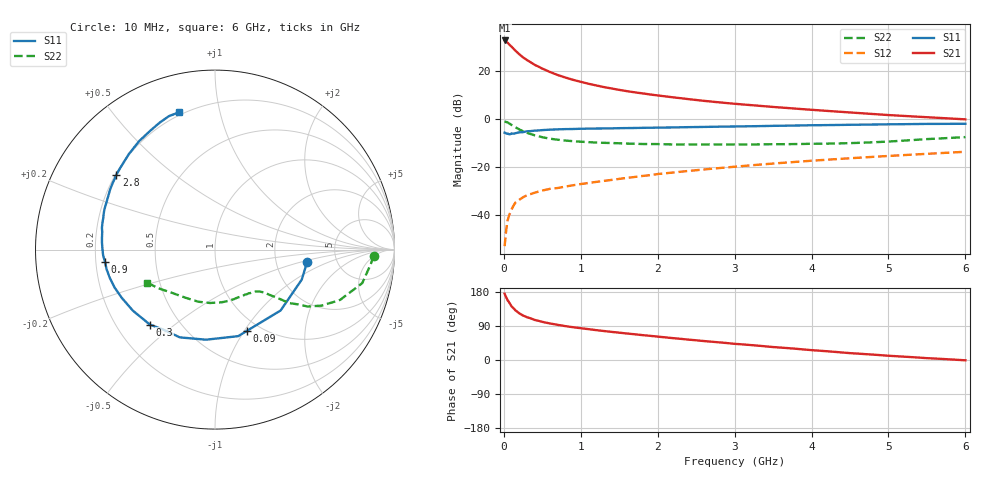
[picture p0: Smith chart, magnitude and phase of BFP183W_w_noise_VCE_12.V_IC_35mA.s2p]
! Infineon Technologies  Discrete & RF Semiconductors
! BFP183W
! VCE =  12. V,  IC =  35 mA
! Common Emitter S-Parameters:  Jan 2017
# GHz  S  MA  R  50
!  f  S11  S21  S12  S22
! GHz  MAG  ANG  MAG  ANG  MAG  ANG  MAG  ANG
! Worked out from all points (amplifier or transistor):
!   77 points, 10 MHz to 6 GHz, reference 50 ohm
!   highest |S21| = 32.5 dB at 10 MHz (marker M1)
!   |S21| within 3 dB of that: start of sweep to 113.5 MHz
!   unconditionally stable (mu >= 1): start of sweep to 16.07 MHz; 1.114 GHz to 3.89 GHz
!   at 130 MHz: K = 0.44, MSG = 32.4 dB, |S12| = -35.8 dB
!   at 2.2 GHz: K = 1.11, MAG = 13.6 dB, |S12| = -22.2 dB
!   at 6 GHz: K = 0.86, MSG = 6.7 dB, |S12| = -13.6 dB
!   lowest NFmin = 1.51 dB at 450 MHz
!   S11 on the Smith chart (normalised r, x): 10 MHz: 3.02, -0.58; 90 MHz: 0.86, -1.03; 300 MHz: 0.34, -0.41; 900 MHz: 0.24, -0.05; 2.8 GHz: 0.20, +0.32; 6 GHz: 0.18, +0.76
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0.01  0.5176 -7.8  42.2 175.0  0.0023 33.8  0.8842 -2.2
0.02  0.5115 -19.1  40.98 169.7  0.0033 53.8  0.8722 -5.2
0.05  0.4987 -42.8  37.7 157.3  0.008 64.0  0.8416 -12.8
0.09  0.4867 -68.7  32.47 145.1  0.0122 61.8  0.7677 -19.9
0.1  0.4992 -75.0  31.44 141.5  0.0132 61.5  0.7513 -21.9
0.15  0.5044 -95.6  25.97 131.1  0.0184 56.4  0.6714 -27.7
0.2  0.5268 -111.8  21.92 123.2  0.021 53.1  0.605 -31.6
0.25  0.5307 -122.8  18.81 117.3  0.0238 51.1  0.5543 -33.4
0.3  0.5533 -131.0  16.59 113.0  0.026 48.4  0.513 -35.6
0.4  0.5702 -143.4  13.21 105.8  0.0295 46.2  0.4569 -37.2
0.5  0.585 -152.7  11.01 100.6  0.0327 47.0  0.417 -38.7
0.6  0.5982 -159.4  9.365 96.4  0.0355 46.0  0.3884 -40.0
0.7  0.6067 -164.9  8.112 92.8  0.0369 47.5  0.3703 -40.6
0.9  0.6167 -173.6  6.445 86.5  0.0421 48.9  0.3453 -42.8
1.1  0.6275 179.3  5.348 81.4  0.0469 50.8  0.3295 -45.2
1.5  0.6419 168.9  3.992 72.1  0.0571 54.1  0.3122 -50.8
2.1  0.661 155.6  2.925 59.7  0.0745 56.6  0.2975 -62.2
2.8  0.6893 142.9  2.2 46.5  0.0955 56.7  0.2953 -78.3
3.1  0.6993 138.1  1.994 41.2  0.1052 55.8  0.2953 -85.5
4.1  0.7403 123.6  1.503 24.6  0.139 52.3  0.3054 -110.5
5.1  0.774 112.7  1.176 10.0  0.1739 47.0  0.3464 -137.0
6  0.7914 104.5  0.978 -0.8  0.2079 41.2  0.4194 -153.8
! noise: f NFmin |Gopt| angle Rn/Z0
0.45  1.51  0.29  -177  0.1
0.9  1.56  0.32  -176  0.1
1.9  2.05  0.47  -154  0.11
2.4  2.31  0.51  -151  0.16
